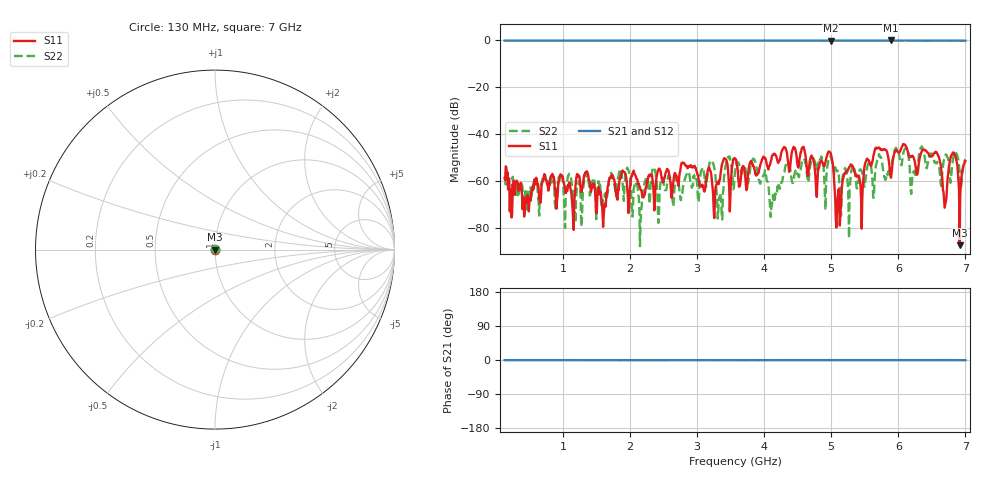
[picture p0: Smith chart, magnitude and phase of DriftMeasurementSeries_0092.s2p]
# Hz S RI R 50.000000
! Metas.Vna.Tools, 2.8.8664.20301
! Metas.Vna.Data, 2.8.8664.20285
! Created: UTC 2024.02.11 10:08:52
! FREQ  re:S1,1  im:S1,1  re:S2,1  im:S2,1  re:S1,2  im:S1,2  re:S2,2  im:S2,2
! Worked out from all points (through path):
!   801 points, 130 MHz to 7 GHz, reference 50 ohm
!   highest |S21| = 0.00 dB at 5.884 GHz (marker M1); lowest = -0.1 dB at 4.991 GHz (marker M2)
!   lowest |S11| = -87.3 dB at 6.914 GHz (marker M3), VSWR 1.00, Z = 50 + j0.000887 ohm
!   |S11| at or under -10 dB: start of sweep to end of sweep
!   |S22| runs from -87.7 to -45.2 dB; largest |S21 - S12| = 0.012
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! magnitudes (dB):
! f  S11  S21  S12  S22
! 130 MHz  -58.7  0.0  0.0  -58.8
! 1.281 GHz  -64.0  -0.1  0.0  -77.4
! 1.607 GHz  -74.9  -0.1  0.0  -66.7
! 1.719 GHz  -58.7  -0.1  0.0  -56.4
! 2.423 GHz  -55.2  -0.1  0.0  -77.8
! 3.264 GHz  -69.8  -0.1  0.0  -55.8
! 3.342 GHz  -59.3  -0.1  0.0  -65.0
! 3.453 GHz  -53.0  -0.1  0.0  -49.8
! 3.565 GHz  -50.3  -0.1  0.0  -56.2
! 3.848 GHz  -54.2  -0.1  0.0  -50.5
! 4.123 GHz  -48.9  -0.1  0.0  -68.0
! 4.716 GHz  -49.7  -0.1  0.0  -50.2
! 4.991 GHz  -48.0  -0.1  0.0  -49.2
! 5.102 GHz  -65.6  -0.1  0.0  -55.5
! 5.274 GHz  -53.8  0.0  0.0  -63.4
! 5.858 GHz  -51.3  0.0  0.0  -55.7
! 5.884 GHz  -58.1  0.0  0.0  -55.8
! 6.562 GHz  -47.7  -0.1  0.0  -52.4
! 6.699 GHz  -69.9  -0.1  0.0  -49.1
! 6.82 GHz  -47.8  -0.1  0.0  -50.0
! 6.914 GHz  -87.3  -0.1  0.0  -55.5
! 7 GHz  -51.3  -0.1  0.0  -50.9
